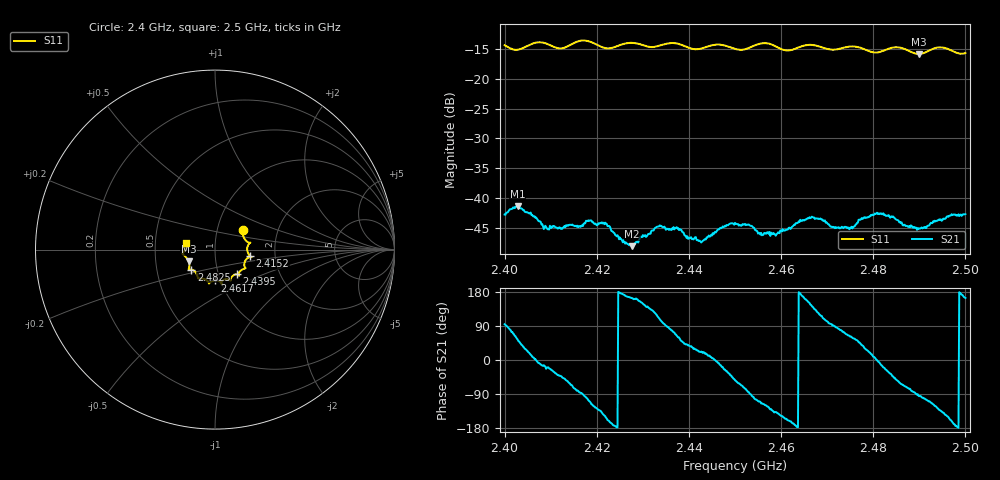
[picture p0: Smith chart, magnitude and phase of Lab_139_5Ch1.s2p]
# Hz S RI R 50
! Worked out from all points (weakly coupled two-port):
!   601 points, 2.4 GHz to 2.5 GHz, reference 50 ohm
!   highest |S21| = -41.32 dB at 2.4028 GHz (marker M1); lowest = -48.0 dB at 2.4277 GHz (marker M2)
!   lowest |S11| = -15.9 dB at 2.4898 GHz (marker M3), VSWR 1.38, Z = 36.9 - j4.9 ohm
!   |S11| at or under -10 dB: start of sweep to end of sweep
!   S12 and S22 are empty: the file has one direction only
!   S11 on the Smith chart (normalised r, x): 2.4 GHz: 1.33, +0.30; 2.4152 GHz: 1.48, -0.11; 2.4395 GHz: 1.22, -0.35; 2.4617 GHz: 0.94, -0.33; 2.4825 GHz: 0.75, -0.17; 2.5 GHz: 0.72, +0.05
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2.4e9  0.1556 0.1097  -0.000567 0.00728  0 0  0 0
2.402833e9  0.1623 0.0639  0.00508 0.00693  0 0  0 0
2.409e9  0.1936 0.0365  0.00529 -0.00225  0 0  0 0
2.412167e9  0.1791 0.00102  0.0041 -0.00375  0 0  0 0
2.415167e9  0.1961 -0.0365  0.00148 -0.00567  0 0  0 0
2.416667e9  0.2039 -0.0422  0.00031 -0.00584  0 0  0 0
2.421667e9  0.1712 -0.0581  -0.00507 -0.00334  0 0  0 0
2.427667e9  0.1701 -0.1038  -0.00381 0.00114  0 0  0 0
2.433333e9  0.1327 -0.1327  -0.00224 0.00534  0 0  0 0
2.437833e9  0.1331 -0.1427  0.00275 0.00467  0 0  0 0
2.4395e9  0.1226 -0.1377  0.00349 0.00307  0 0  0 0
2.442667e9  0.0932 -0.1524  0.00395 0.00161  0 0  0 0
2.45e9  0.067 -0.1646  0.00371 -0.00499  0 0  0 0
2.455667e9  0.0372 -0.1934  -0.00212 -0.00467  0 0  0 0
2.461667e9  0.000815 -0.1721  -0.00532 -0.00193  0 0  0 0
2.466667e9  -0.0339 -0.1887  -0.00558 0.00425  0 0  0 0
2.475167e9  -0.0923 -0.1613  0.00265 0.00497  0 0  0 0
2.4825e9  -0.1324 -0.1109  0.00675 -0.00275  0 0  0 0
2.483333e9  -0.1399 -0.1102  0.00616 -0.00378  0 0  0 0
2.489833e9  -0.1474 -0.0647  -0.000439 -0.00552  0 0  0 0
2.4945e9  -0.1813 -0.0226  -0.00446 -0.00486  0 0  0 0
2.5e9  -0.1598 0.0352  -0.00705 0.00207  0 0  0 0
